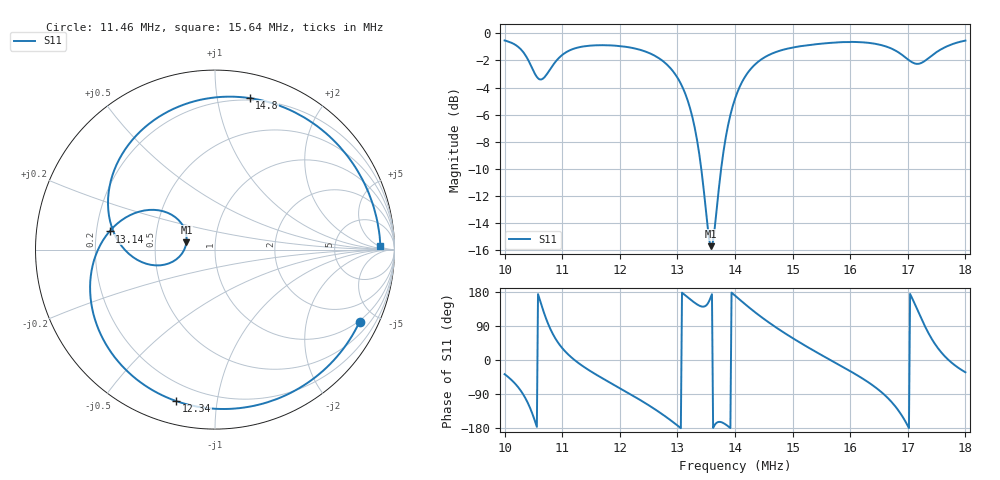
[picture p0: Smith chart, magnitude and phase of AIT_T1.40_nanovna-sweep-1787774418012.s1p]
! NanoVNA Web complex sweep
! Processing: original sample grid, no browser smoothing
# Hz S RI R 50
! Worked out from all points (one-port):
!   401 points, 10 MHz to 18 MHz, reference 50 ohm
!   lowest |S11| = -15.7 dB at 13.58 MHz (marker M1), VSWR 1.39, Z = 36.2 + j2.98 ohm
!   |S11| at or under -10 dB: 13.41 MHz to 13.76 MHz (344.2 kHz wide, 2.53 % of centre)
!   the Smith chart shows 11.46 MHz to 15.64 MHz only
!   S11 on the Smith chart (normalised r, x): 11.46 MHz: 0.96, -4.04; 12.34 MHz: 0.11, -0.77; 13.14 MHz: 0.25, +0.08; 14.8 MHz: 0.18, +1.24; 15.64 MHz: 23, +6
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1e7  0.7475 -0.5725
1.034e7  -0.0757 -0.8403
1.044e7  -0.4528 -0.6278
1.056e7  -0.6898 -0.0416
1.076e7  -0.0467 0.7193
1.1e7  0.7096 0.4353
1.146e7  0.8058 -0.4012
1.2e7  0.242 -0.8645
1.234e7  -0.2152 -0.8441
1.272e7  -0.6232 -0.4993
1.3e7  -0.6814 -0.0872
1.314e7  -0.5878 0.1014
1.336e7  -0.3134 0.2189
1.358e7  -0.1593 0.0401
1.378e7  -0.3309 -0.0879
1.4e7  -0.5653 0.0987
1.43e7  -0.4999 0.5594
1.48e7  0.1928 0.8443
1.5e7  0.4722 0.7501
1.564e7  0.9216 0.021
1.6e7  0.8087 -0.4569
1.662e7  -0.0849 -0.891
1.682e7  -0.5465 -0.6586
1.7e7  -0.7977 -0.0873
1.714e7  -0.6058 0.4797
1.732e7  0.107 0.7911
1.76e7  0.841 0.2544
1.8e7  0.794 -0.5041
